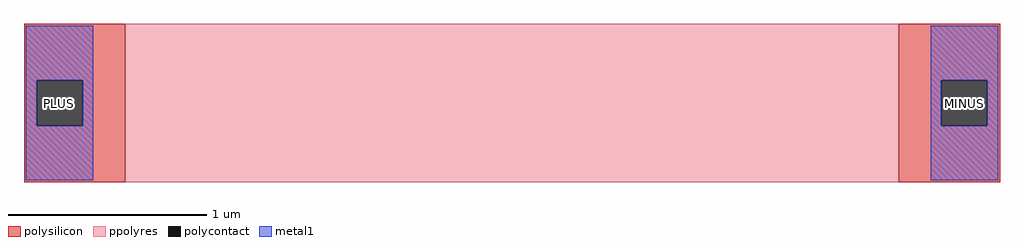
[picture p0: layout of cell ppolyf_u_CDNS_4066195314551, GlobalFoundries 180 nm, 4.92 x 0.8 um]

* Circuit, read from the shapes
.subckt ppolyf_u_CDNS_4066195314551 MINUS PLUS
XR1 MINUS PLUS VSUBS ppolyf_u r_width=0.8u r_length=3.9u
.ends

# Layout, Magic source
magic
tech gf180mcuD
magscale 1 10
<< polysilicon >>
rect 0 103 102 160
rect 0 57 13 103
rect 59 57 102 103
rect 0 0 102 57
rect 882 103 984 160
rect 882 57 925 103
rect 971 57 984 103
rect 882 0 984 57
<< polycontact >>
rect 13 57 59 103
rect 925 57 971 103
<< ppolyres >>
rect 102 0 882 160
<< metal1 >>
rect 2 103 70 158
rect 2 57 13 103
rect 59 57 70 103
rect 2 2 70 57
rect 914 103 982 158
rect 914 57 925 103
rect 971 57 982 103
rect 914 2 982 57
<< labels >>
rlabel polycontact 948 80 948 80 4 MINUS
rlabel polycontact 36 80 36 80 4 PLUS
<< end >>
